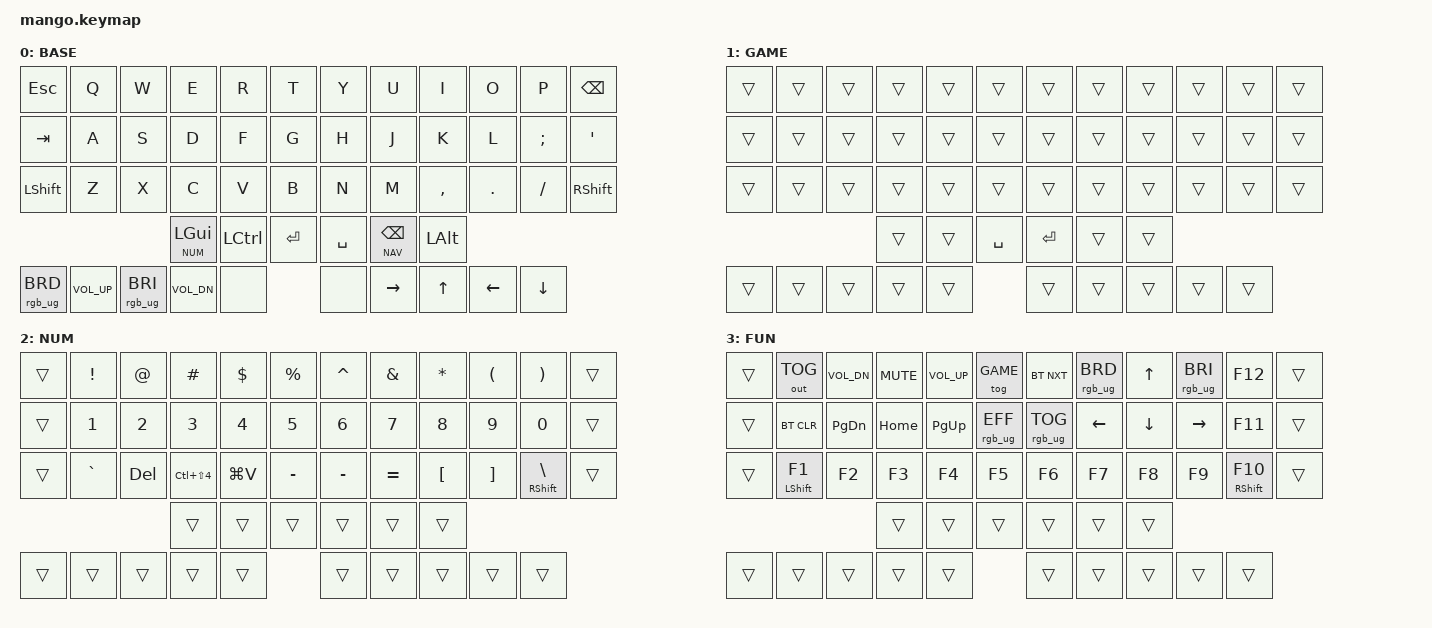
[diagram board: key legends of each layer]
#include <behaviors.dtsi>
#include <dt-bindings/zmk/keys.h>
#include <dt-bindings/zmk/bt.h>
#include <dt-bindings/zmk/outputs.h>
#include <dt-bindings/zmk/rgb.h>
#include <dt-bindings/zmk/ext_power.h>

#define BASE 0
#define GAME 1
#define NUM  2
#define NAV  3

/ {
keymap {
    compatible = "zmk,keymap";

/*                                  
*  DEFAULT               _____                                               _____
*                 .-----|  E  |-----._____                       _____.-----|  I  |-----.
*      _____.-----|  W  |_____|  R  |  T  |                     |  Y  |  U  |_____|  O  |-----._____
*     | ESC |  Q  |-----|  D  |-----|_____|                     |_____|-----|  K  |-----|  P  | BSP |  
*     |_____|-----|  S  |_____|  F  |  G  |                     |  H  |  J  |_____|  L  |-----|_____|  
*     | TAB |  A  |-----|  C  |-----|_____|                     |_____|-----| , < |-----| ; : | ' " |  
*     |_____|-----|  X  |_____|  V  |  B  |                     |  N  |  M  |_____| . > |-----|_____|  
*     |SHIFT|  Z  |-----'   .-'---.=|_____|.-.._           _..-.|_____|=.---'-.   '-----| / ? |SHIFT|
*     !_____!-----'         | GUI | CTRL| /     /         \     \ | BSP | ALT |         '-----!_____!
*              |            '-----!_____!/ ENT /           \ SPC \!_____!-----'            |
*            SHIFT             |        '--.._/             \_..--'  |                   SHIFT                                                                                                                                       
*                             NUM                                   NAV
*                                         
*                          VUP                                              MUP
*                          __                                                __
*                       __|  |__                                          __|  |__
*                PREV  |_TGPLAY_|  NEXT                           MLEFT  |_MCLK-1_|  MRIGHT
*                         |__|                                              |__|
*                                                                             
*                        VDOWN                                             MDOWN
*/

default_layer {
    display-name = "BASE";
    bindings = <
        &kp ESC     &kp Q       &kp W       &kp E       &kp R       &kp T               &kp Y       &kp U       &kp I       &kp O       &kp P       &kp BSPC
        &kp TAB     &kp A       &kp S       &kp D       &kp F       &kp G               &kp H       &kp J       &kp K       &kp L       &kp SEMI    &kp SQT
        &kp LSHFT   &kp Z        &kp X       &kp C       &kp V       &kp B               &kp N       &kp M       &kp COMMA   &kp DOT    &kp FSLH    &kp RSHFT
                                         &lhkt NUM LGUI &kp LCTRL   &kp ENTER           &kp SPACE   &lhkt NAV BSPC &kp LALT

        &rgb_ug RGB_BRD &kp C_VOL_UP &rgb_ug RGB_BRI &kp C_VOL_DN   &none               &none       &kp RIGHT   &kp UP      &kp LEFT    &kp DOWN
    >;
};

/* 
*  GAME - this just swaps space and enter
*/

game_layer {
    display-name = "GAME";
    bindings = <
        &trans      &trans      &trans      &trans      &trans      &trans              &trans      &trans      &trans      &trans      &trans      &trans
        &trans      &trans      &trans      &trans      &trans      &trans              &trans      &trans      &trans      &trans      &trans      &trans
        &trans      &trans      &trans      &trans      &trans      &trans              &trans      &trans      &trans      &trans      &trans      &trans
                                            &trans      &trans      &kp SPACE           &kp ENTER   &trans      &trans

                    &trans      &trans      &trans      &trans      &trans              &trans      &trans      &trans      &trans      &trans
    >;
};

/*                                  
*  NUMBERS               _____                                               _____
*                 .-----|  #  |-----._____                       _____.-----|  *  |-----.
*      _____.-----|  @  |_____|  $  |  %  |                     |  ^  |  &  |_____|  (  |-----._____
*     | ESC |  !  |-----|  3  |-----|_____|                     |_____|-----|  8  |-----|  )  | BSP |  
*     |_____|-----|  2  |_____|  4  |  5  |                     |  6  |  7  |_____|  9  |-----|_____|  
*     | TAB |  1  |-----|SCRSH|-----|_____|                     |_____|-----| [ { |-----|  0  | ' " |  
*     |_____|-----|     |_____|     | - _ |                     | - _ | = + |_____| ] } |-----|_____|  
*     |SHIFT| ` ~ |-----'   .-'---.=|_____|.-.._           _..-.|_____|=.---'-.   '-----| \ | |SHIFT|
*     !_____!-----'         | GUI | CTRL| /     /         \     \ | BSP | ALT |         '-----!_____!
*              |            '-----!_____!/ ENT /           \ SPC \!_____!-----'            |
*            SHIFT             |        '--.._/             \_..--'  |                   SHIFT                                                                                                                                       
*                             NUM                                   NAV
*                                                                  
*
*                     BRIGHTNESS UP                                         MUP
*                          __                                                __
*                       __|  |__                                          __|  |__
*         PREV EFFECT  |_UDGLOW_|  NEXT EFFECT                    MLEFT  |_MCLK-2_|  MRIGHT
*                         |__|                                              |__|
*                                                                             
*                    BRIGHTNESS DOWN                                       MDOWN
*/

numbers_layer {
    display-name = "NUM";
    bindings = <
        &trans      &kp EXCL    &kp AT      &kp HASH    &kp DLLR    &kp PRCNT           &kp CARET   &kp AMPS    &kp ASTRK   &kp LPAR    &kp RPAR    &trans     
        &trans      &kp N1      &kp N2      &kp N3      &kp N4      &kp N5              &kp N6      &kp N7      &kp N8      &kp N9      &kp N0      &trans      
        &trans     &kp GRAVE    &kp DEL    &kp LC(LS(N4)) &kp LG(V)   &kp MINUS         &kp MINUS   &kp EQUAL   &kp LBKT    &kp RBKT &mt RSHFT BSLH &trans      
                                            &trans      &trans      &trans              &trans      &trans      &trans      
                    &trans      &trans      &trans      &trans      &trans              &trans      &trans      &trans      &trans      &trans
    >;
};

/*                                  
*  NAVIGATION            _____                                               _____
*                 .-----| MUTE|-----._____                       _____.-----| UP  |-----.
*      _____.-----|VDOWN|_____| VUP | SWAP|                     |BTNXT|BRI_D|_____|BRI_U|-----._____
*     | ESC |BTTOG|-----| HOME|-----|_____|                     |_____|-----| DOWN|-----| F12 | BSP |  
*     |_____|-----|P DOW|_____| P UP|RGB_E|                     |UNGLW| LEFT|_____|RIGHT|-----|_____|  
*     | TAB |BTCLR|-----| F3  |-----|_____|                     |_____|-----| F8  |-----| F11 | ' " |  
*     |_____|-----| F2  |_____| F4  | F5  |                     | F6  | F7  |_____| F9  |-----|_____|  
*     |SHIFT| F1  |-----'   .-'---.=|_____|.-.._           _..-.|_____|=.---'-.   '-----| F10 |SHIFT|
*     !_____!-----'         | GUI | CTRL| /     /         \     \ | BSP | ALT |         '-----!_____!
*              |            '-----!_____!/ ENT /           \ SPC \!_____!-----'            |
*            SHIFT             |        '--.._/             \_..--'  |                   SHIFT                                                                                                                                       
*                             NUM                                   NAV
*                                                                  
*
*                     BRIGHTNESS UP                                       SCROLLUP
*                          __                                                __
*                       __|  |__                                          __|  |__
*         PREV EFFECT  |__RGB___|  NEXT EFFECT               SCROLLLEFT  |_MCLK-C_|  SCROLLRIGHT
*                         |__|                                              |__|
*                                                                             
*                    BRIGHTNESS DOWN                                     SCROLLDOWN
*/

navigation_layer {
    display-name = "FUN";
    bindings = <
        &trans    &out OUT_TOG &kp C_VOL_DN &kp C_MUTE  &kp C_VOL_UP &tog GAME              &bt BT_NXT      &rgb_ug RGB_BRD  &kp UP      &rgb_ug RGB_BRI  &kp F12        &trans      
        &trans    &bt BT_CLR   &kp PG_DN    &kp HOME    &kp PG_UP    &rgb_ug RGB_EFF        &rgb_ug RGB_TOG &kp LEFT         &kp DOWN    &kp RIGHT        &kp F11        &trans      
        &trans    &mt LSHFT F1 &kp F2       &kp F3      &kp F4       &kp F5                 &kp F6          &kp F7           &kp F8      &kp F9           &mt RSHFT F10  &trans      
                                            &trans      &trans       &trans                 &trans          &trans           &trans      
                                            
                    &trans     &trans       &trans      &trans       &trans                 &trans      &trans      &trans      &trans      &trans
    >;
};

};
};

/ {
combos {
    compatible = "zmk,combos";

/* 
*  COMBOS
*                                               _____________________         _____________________
*                                            __|__                   |       |                   __|__ 
*          _______________          _____   |     |                  v       v                  |     |   _____          _______________
*         |               |  .-----|  3  |-----._____                                         _____.-----|  8  |-----.  |               |
*         v       _____.-----|  2  |_____|  4  |  5  |               (       )               |  6  |  7  |_____|  9  |-----._____       v
*             __ |  0  |  1  |-----| 15  |-----|_____| --.__  +                     -  __.-- |_____|-----| 20  |-----| 10  | 11  | __
*     ESC  --|__ |_____|-----| 14  |_____| 16  | 17  | --'           [       ]           '-- | 18  | 19  |_____| 21  |-----|_____| __|--  "
*             __ | 12  | 13  |-----| 27  |-----|_____| --.__  *                     =  __.-- |_____|-----| 32  |-----| 22  | 23  | __ 
*     TAB  --|__ |_____|-----| 26  |_____| 28  | 29  | --'           {       }           '-- | 30  | 31  |_____| 33  |-----|_____| __|--  '
*                | 24  | 25  |-----'   .-'---.=|_____|.-.._                             _..-.|_____|=.---'-.   '-----| 34  | 35  | 
*                !_____!-----'         | 36  | 37  | /     /                           \     \ | 40  | 41  |         '-----!_____!
*                                      '-----!_____!/ 38  /                             \ 39  \!_____!-----'          
*                                                  '--.._/                               \_..--'  |_____|
*                                                                                                    |
*                                                                                                   DEL       
*/

// ESC
    combo_esc {
        timeout-ms = <20>;
        key-positions = <1 13>;
        bindings = <&kp ESC>;
    };

// TAB
    combo_tab {
        timeout-ms = <20>;
        key-positions = <13 25>;
        bindings = <&kp TAB>;
    };

// '
    combo_sqt {
        timeout-ms = <20>;
        key-positions = <22 34>;
        bindings = <&kp SQT>;
    };

// "
    combo_dqt {
        timeout-ms = <20>;
        key-positions = <10 22>;
        bindings = <&kp DQT>;
    };

// ()
    combo_lpar {
        timeout-ms = <20>;
        key-positions = <4 5>;
        bindings = <&kp LPAR>;
    };

    combo_rpar {
        timeout-ms = <20>;
        key-positions = <6 7>;
        bindings = <&kp RPAR>;
    };

// []
    combo_lbkt {
        timeout-ms = <20>;
        key-positions = <16 17>;
        bindings = <&kp LBKT>;
    };

    combo_rbkt {
        timeout-ms = <20>;
        key-positions = <18 19>;
        bindings = <&kp RBKT>;
    };

// {}
    combo_lbrc {
        timeout-ms = <20>;
        key-positions = <28 29>;
        bindings = <&kp LBRC>;
    };

    combo_rbrc {
        timeout-ms = <20>;
        key-positions = <30 31>;
        bindings = <&kp RBRC>;
    };

// DEL
    combo_del {
        timeout-ms = <20>;
        key-positions = <40 41>;
        bindings = <&kp DEL>;
    };

// +
    combo_plus {
        timeout-ms = <20>;
        key-positions = <5 17>;
        bindings = <&kp PLUS>;
    };

// *
    combo_astrk {
        timeout-ms = <20>;
        key-positions = <17 29>;
        bindings = <&kp ASTRK>;
    };

// -
    combo_minus {
        timeout-ms = <20>;
        key-positions = <6 18>;
        bindings = <&kp MINUS>;
    };

// =
    combo_equal {
        timeout-ms = <20>;
        key-positions = <18 30>;
        bindings = <&kp EQUAL>;
    };


// ctrl c
    combo_ctrl_c {
        timeout-ms = <20>;
        key-positions = <26 27>;
        bindings = <&kp LG(C)>;
    };

// ctrl r
    combo_ctrl_r {
        timeout-ms = <20>;
        key-positions = <3 4>;
        bindings = <&kp LG(R)>;
    };

// ctrl v
    combo_ctrl_v {
        timeout-ms = <20>;
        key-positions = <27 28>;
        bindings = <&kp LG(V)>;
    };

// ctrl b
    combo_ctrl_b {
        timeout-ms = <20>;
        key-positions = <16 29>;
        bindings = <&kp LG(B)>;
    };

// ctrl alt v
    combo_ctrl_alt_v {
        timeout-ms = <20>;
        key-positions = <28 292>;
        bindings = <&kp LG(LA(V))>;
    };

// ctrl alt left
    combo_alt_left {
        timeout-ms = <20>;
        key-positions = <14 15>;
        bindings = <&kp LG(LA(LEFT))>;
    };

// ctrl alt enter
    combo_alt_enter {
        timeout-ms = <20>;
        key-positions = <2 3>;
        bindings = <&kp LG(LA(ENTER))>;
    };

// ctrl up
    combo_ctrl_up {
        timeout-ms = <20>;
        key-positions = <8 9>;
        bindings = <&kp LG(UP)>;
    };

// ctrl alt right
    combo_alt_right {
        timeout-ms = <20>;
        key-positions = <20 21>;
        bindings = <&kp LG(LA(RIGHT))>;
    };

// ctrl down
    combo_ctrl_down {
        timeout-ms = <20>;
        key-positions = <32 33>;
        bindings = <&kp LG(DOWN)>;
    };



};
};

/ {
macros {

// Screenshot
    SCRSHT: scrsht {
        // label = "Screenshot";
        compatible = "zmk,behavior-macro";
        #binding-cells = <0>;
        bindings
            = <&macro_press &kp LGUI>
            , <&macro_press &kp LSHFT>
            , <&macro_tap &kp S>
            , <&macro_release &kp LSHFT>
            , <&macro_release &kp LGUI>
            ;
    };
};
};

/ {
behaviors {

    lhkt: layer_hold_key_tap {
        compatible = "zmk,behavior-hold-tap";
        // label = "LAYER_HOLD_KEY_TAP";
        #binding-cells = <2>;
        tapping-term-ms = <200>;    // <---[[moderate duration]]
        quick-tap-ms = <0>;
        flavor = "hold-preferred";
        bindings = <&mo>, <&kp>;
    };
};
};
